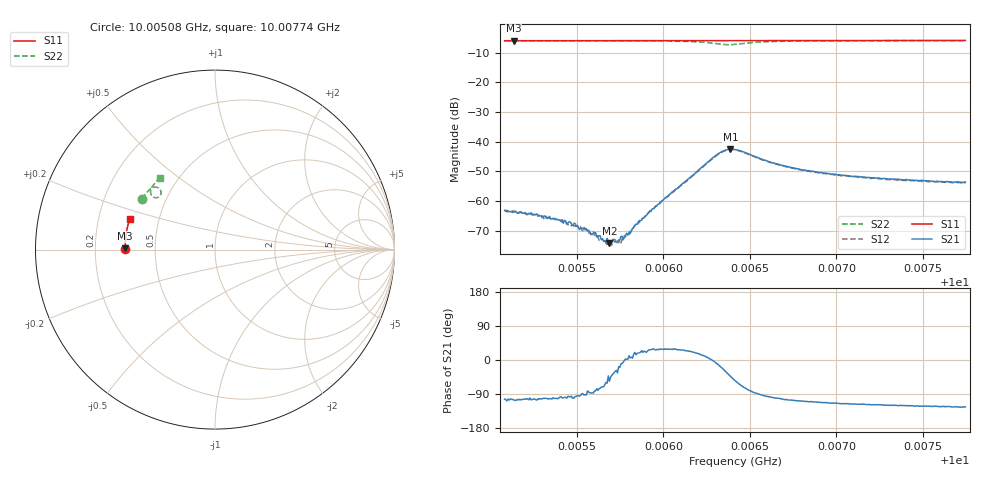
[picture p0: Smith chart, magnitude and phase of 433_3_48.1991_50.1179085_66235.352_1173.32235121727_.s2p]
#  HZ  S  RI  R  50.00
! Rohde & Schwarz Vector Network Analyzer
! Rohde-Schwarz,ZNB20-2Port,1311601062101988,3.16
! Created: UTC 3/20/2024, 11:55:32 AM
! freq[Hz]  re:S11  im:S11  re:S21  im:S21  re:S12  im:S12  re:S22  im:S22
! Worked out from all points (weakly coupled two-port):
!   401 points, 10.00508 GHz to 10.00774 GHz, reference 50 ohm
!   highest |S21| = -42.51 dB at 10.00639 GHz (marker M1); lowest = -74.2 dB at 10.00569 GHz (marker M2)
!   lowest |S11| = -6.0 dB at 10.00514 GHz (marker M3), VSWR 3.00, Z = 16.7 + j0.279 ohm
!   |S11| at or under -10 dB: nowhere
!   |S22| runs from -7.4 to -6.0 dB; largest |S21 - S12| = 0.00047
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1.0005083e10  -0.5002 0.00274  -0.000157 -0.000679  -0.000162 -0.000697  -0.4064 0.2823
1.0005136e10  -0.5001 0.00627  -0.000181 -0.000651  -0.000127 -0.000641  -0.4045 0.2856
1.0005382e10  -0.5001 0.0222  -9.76e-05 -0.000486  -5.71e-05 -0.000486  -0.3948 0.3001
1.0005455e10  -0.5 0.027  -5.25e-05 -0.00045  -5.12e-05 -0.000406  -0.3917 0.3043
1.0005495e10  -0.5 0.0297  -3.99e-05 -0.000372  -3.69e-05 -0.000384  -0.3898 0.3067
1.0005528e10  -0.5 0.0318  7.54e-06 -0.000351  -3.24e-06 -0.000327  -0.3883 0.3088
1.0005622e10  -0.4998 0.0377  4.5e-05 -0.000259  9.64e-05 -0.000237  -0.3839 0.3143
1.0005655e10  -0.4996 0.0401  6.86e-05 -0.000197  0.000103 -0.000184  -0.3821 0.3165
1.0005688e10  -0.4994 0.0421  0.000109 -0.000161  0.000121 -0.000126  -0.3805 0.3185
1.0005721e10  -0.4993 0.0444  0.000178 -0.000103  0.000189 -0.00012  -0.3786 0.3206
1.0005741e10  -0.4994 0.0457  0.000212 -6.78e-05  0.000191 -5.62e-05  -0.3775 0.3219
1.0005781e10  -0.4992 0.048  0.000266 1.24e-05  0.000249 1.91e-05  -0.3752 0.3244
1.0005868e10  -0.4986 0.0538  0.000439 0.000164  0.000459 0.000166  -0.3695 0.3299
1.0005974e10  -0.4981 0.0607  0.000796 0.000408  0.000748 0.000469  -0.3613 0.337
1.0006287e10  -0.4955 0.0809  0.00538 -0.000197  0.00526 4.68e-05  -0.3066 0.336
1.000634e10  -0.4948 0.084  0.00634 -0.00255  0.00634 -0.00221  -0.3004 0.3139
1.0006387e10  -0.4944 0.0867  0.00545 -0.00514  0.00563 -0.0047  -0.3123 0.2941
1.0006414e10  -0.4942 0.0884  0.0043 -0.00601  0.00453 -0.0057  -0.3241 0.2893
1.0006627e10  -0.4927 0.1018  -0.000662 -0.00442  -0.000417 -0.00438  -0.3588 0.3258
1.000686e10  -0.4899 0.1168  -0.0011 -0.00297  -0.000948 -0.00297  -0.3493 0.3514
1.0007305e10  -0.4833 0.1449  -0.00115 -0.00204  -0.00101 -0.00207  -0.3266 0.3792
1.0007745e10  -0.4753 0.172  -0.00117 -0.00174  -0.00104 -0.00172  -0.3042 0.4004
